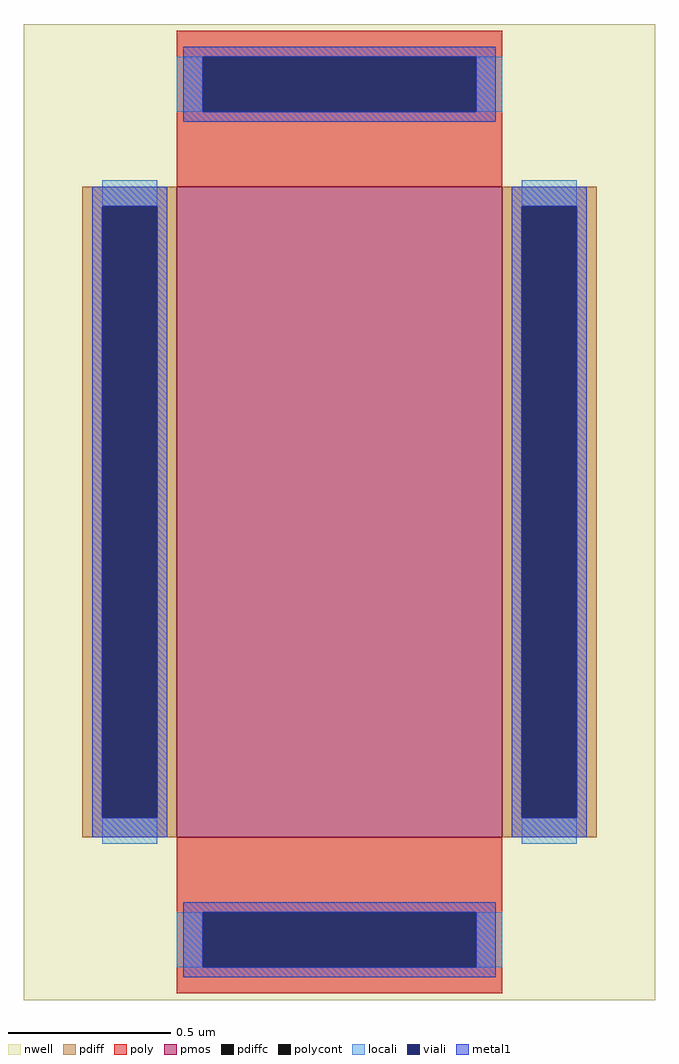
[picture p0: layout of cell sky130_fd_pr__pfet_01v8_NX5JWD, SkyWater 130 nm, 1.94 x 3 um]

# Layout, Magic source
magic
tech sky130A
<< nwell >>
rect -97 -150 97 150
<< pmos >>
rect -50 -100 50 100
<< pdiff >>
rect -79 94 -50 100
rect -79 -94 -73 94
rect -56 -94 -50 94
rect -79 -100 -50 -94
rect 50 94 79 100
rect 50 -94 56 94
rect 73 -94 79 94
rect 50 -100 79 -94
<< pdiffc >>
rect -73 -94 -56 94
rect 56 -94 73 94
<< poly >>
rect -50 140 50 148
rect -50 123 -42 140
rect 42 123 50 140
rect -50 100 50 123
rect -50 -123 50 -100
rect -50 -140 -42 -123
rect 42 -140 50 -123
rect -50 -148 50 -140
<< polycont >>
rect -42 123 42 140
rect -42 -140 42 -123
<< locali >>
rect -50 123 -42 140
rect 42 123 50 140
rect -73 94 -56 102
rect -73 -102 -56 -94
rect 56 94 73 102
rect 56 -102 73 -94
rect -50 -140 -42 -123
rect 42 -140 50 -123
<< viali >>
rect -42 123 42 140
rect -73 -94 -56 94
rect 56 -94 73 94
rect -42 -140 42 -123
<< metal1 >>
rect -48 140 48 143
rect -48 123 -42 140
rect 42 123 48 140
rect -48 120 48 123
rect -76 94 -53 100
rect -76 -94 -73 94
rect -56 -94 -53 94
rect -76 -100 -53 -94
rect 53 94 76 100
rect 53 -94 56 94
rect 73 -94 76 94
rect 53 -100 76 -94
rect -48 -123 48 -120
rect -48 -140 -42 -123
rect 42 -140 48 -123
rect -48 -143 48 -140
<< properties >>
string gencell sky130_fd_pr__pfet_01v8
string library sky130
string parameters w 2.0 l 1.0 m 1 nf 1 diffcov 100 polycov 100 guard 0 glc 0 grc 0 gtc 0 gbc 0 tbcov 100 rlcov 100 topc 1 botc 1 poverlap 0 doverlap 1 lmin 0.15 wmin 0.42 compatible {sky130_fd_pr__pfet_01v8  sky130_fd_pr__pfet_01v8_lvt sky130_fd_pr__pfet_01v8_hvt  sky130_fd_pr__pfet_g5v0d10v5} full_metal 0 viasrc 100 viadrn 100 viagate 100 viagb 0 viagr 0 viagl 0 viagt 0
<< end >>
